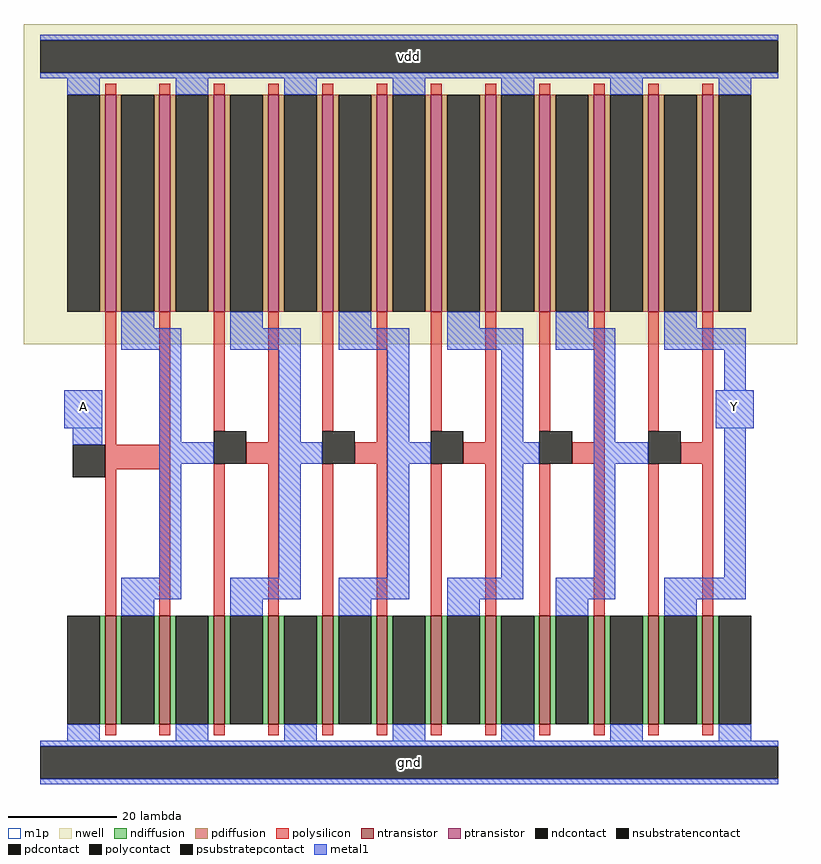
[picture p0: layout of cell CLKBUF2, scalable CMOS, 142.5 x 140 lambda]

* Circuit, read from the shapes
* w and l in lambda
.subckt CLKBUF2 A Y vdd gnd
M1 n1 A gnd gnd nfet w=20 l=2 m=2
M2 n2 n1 gnd gnd nfet w=20 l=2 m=2
M3 n3 n2 gnd gnd nfet w=20 l=2 m=2
M4 n4 n3 gnd gnd nfet w=20 l=2 m=2
M5 n5 n4 gnd gnd nfet w=20 l=2 m=2
M6 Y n5 gnd gnd nfet w=20 l=2 m=2
M7 n1 A vdd vdd pfet w=40 l=2 m=2
M8 n2 n1 vdd vdd pfet w=40 l=2 m=2
M9 n3 n2 vdd vdd pfet w=40 l=2 m=2
M10 n4 n3 vdd vdd pfet w=40 l=2 m=2
M11 n5 n4 vdd vdd pfet w=40 l=2 m=2
M12 Y n5 vdd vdd pfet w=40 l=2 m=2
.ends

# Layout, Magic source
magic
tech scmos
magscale 1 2
<< nwell >>
rect -12 154 273 272
<< ntransistor >>
rect 18 14 22 54
rect 38 14 42 54
rect 58 14 62 54
rect 78 14 82 54
rect 98 14 102 54
rect 118 14 122 54
rect 138 14 142 54
rect 158 14 162 54
rect 178 14 182 54
rect 198 14 202 54
rect 218 14 222 54
rect 238 14 242 54
<< ptransistor >>
rect 18 166 22 246
rect 38 166 42 246
rect 58 166 62 246
rect 78 166 82 246
rect 98 166 102 246
rect 118 166 122 246
rect 138 166 142 246
rect 158 166 162 246
rect 178 166 182 246
rect 198 166 202 246
rect 218 166 222 246
rect 238 166 242 246
<< ndiffusion >>
rect 16 14 18 54
rect 22 14 24 54
rect 36 14 38 54
rect 42 14 44 54
rect 56 14 58 54
rect 62 14 64 54
rect 76 14 78 54
rect 82 14 84 54
rect 96 14 98 54
rect 102 14 104 54
rect 116 14 118 54
rect 122 14 124 54
rect 136 14 138 54
rect 142 14 144 54
rect 156 14 158 54
rect 162 14 164 54
rect 176 14 178 54
rect 182 14 184 54
rect 196 14 198 54
rect 202 14 204 54
rect 216 14 218 54
rect 222 14 224 54
rect 236 14 238 54
rect 242 14 244 54
<< pdiffusion >>
rect 16 166 18 246
rect 22 166 24 246
rect 36 166 38 246
rect 42 166 44 246
rect 56 166 58 246
rect 62 166 64 246
rect 76 166 78 246
rect 82 166 84 246
rect 96 166 98 246
rect 102 166 104 246
rect 116 166 118 246
rect 122 166 124 246
rect 136 166 138 246
rect 142 166 144 246
rect 156 166 158 246
rect 162 166 164 246
rect 176 166 178 246
rect 182 166 184 246
rect 196 166 198 246
rect 202 166 204 246
rect 216 166 218 246
rect 222 166 224 246
rect 236 166 238 246
rect 242 166 244 246
<< ndcontact >>
rect 4 14 16 54
rect 24 14 36 54
rect 44 14 56 54
rect 64 14 76 54
rect 84 14 96 54
rect 104 14 116 54
rect 124 14 136 54
rect 144 14 156 54
rect 164 14 176 54
rect 184 14 196 54
rect 204 14 216 54
rect 224 14 236 54
rect 244 14 256 54
<< pdcontact >>
rect 4 166 16 246
rect 24 166 36 246
rect 44 166 56 246
rect 64 166 76 246
rect 84 166 96 246
rect 104 166 116 246
rect 124 166 136 246
rect 144 166 156 246
rect 164 166 176 246
rect 184 166 196 246
rect 204 166 216 246
rect 224 166 236 246
rect 244 166 256 246
<< psubstratepcontact >>
rect -6 -6 266 6
<< nsubstratencontact >>
rect -6 254 266 266
<< polysilicon >>
rect 18 246 22 250
rect 38 246 42 250
rect 58 246 62 250
rect 78 246 82 250
rect 98 246 102 250
rect 118 246 122 250
rect 138 246 142 250
rect 158 246 162 250
rect 178 246 182 250
rect 198 246 202 250
rect 218 246 222 250
rect 238 246 242 250
rect 18 117 22 166
rect 38 117 42 166
rect 18 108 42 117
rect 18 54 22 108
rect 38 54 42 108
rect 58 122 62 166
rect 78 118 82 166
rect 70 110 82 118
rect 58 54 62 110
rect 78 54 82 110
rect 98 122 102 166
rect 118 118 122 166
rect 110 110 122 118
rect 98 54 102 110
rect 118 54 122 110
rect 138 122 142 166
rect 158 118 162 166
rect 150 110 162 118
rect 138 54 142 110
rect 158 54 162 110
rect 178 122 182 166
rect 198 118 202 166
rect 190 110 202 118
rect 178 54 182 110
rect 198 54 202 110
rect 218 122 222 166
rect 238 118 242 166
rect 230 110 242 118
rect 218 54 222 110
rect 238 54 242 110
rect 18 10 22 14
rect 38 10 42 14
rect 58 10 62 14
rect 78 10 82 14
rect 98 10 102 14
rect 118 10 122 14
rect 138 10 142 14
rect 158 10 162 14
rect 178 10 182 14
rect 198 10 202 14
rect 218 10 222 14
rect 238 10 242 14
<< polycontact >>
rect 6 105 18 117
rect 58 110 70 122
rect 98 110 110 122
rect 138 110 150 122
rect 178 110 190 122
rect 218 110 230 122
<< metal1 >>
rect -6 266 266 268
rect -6 252 266 254
rect 4 246 16 252
rect 44 246 56 252
rect 84 246 96 252
rect 124 246 136 252
rect 164 246 176 252
rect 204 246 216 252
rect 244 246 256 252
rect 24 160 36 166
rect 64 160 76 166
rect 104 160 116 166
rect 144 160 156 166
rect 184 160 196 166
rect 224 160 236 166
rect 24 152 46 160
rect 64 152 90 160
rect 104 152 130 160
rect 144 152 172 160
rect 184 152 206 160
rect 224 152 254 160
rect 3 123 17 137
rect 6 117 17 123
rect 38 118 46 152
rect 38 110 58 118
rect 82 118 90 152
rect 82 110 98 118
rect 122 118 130 152
rect 122 110 138 118
rect 164 118 172 152
rect 164 110 178 118
rect 198 118 206 152
rect 246 137 254 152
rect 243 123 257 137
rect 198 110 218 118
rect 38 68 46 110
rect 82 68 90 110
rect 122 68 130 110
rect 164 68 172 110
rect 198 68 206 110
rect 246 68 254 123
rect 24 60 46 68
rect 64 60 90 68
rect 104 60 130 68
rect 144 60 172 68
rect 184 60 206 68
rect 224 60 254 68
rect 24 54 36 60
rect 64 54 76 60
rect 104 54 116 60
rect 144 54 156 60
rect 184 54 196 60
rect 224 54 236 60
rect 4 8 16 14
rect 44 8 56 14
rect 84 8 96 14
rect 124 8 136 14
rect 164 8 176 14
rect 204 8 216 14
rect 244 8 256 14
rect -6 6 266 8
rect -6 -8 266 -6
<< m1p >>
rect -6 252 266 268
rect 3 123 17 137
rect 243 123 257 137
rect -6 -8 266 8
<< labels >>
rlabel nsubstratencontact 130 260 130 260 0 vdd
port 3 nsew power bidirectional abutment
rlabel psubstratepcontact 130 0 130 0 0 gnd
port 4 nsew ground bidirectional abutment
rlabel metal1 10 131 10 131 0 A
port 1 nsew signal input
rlabel metal1 250 131 250 131 0 Y
port 2 nsew signal output
<< properties >>
string FIXED_BBOX 0 0 260 260
string LEFclass CORE
string LEFsite core
string LEFsymmetry X Y
<< end >>
